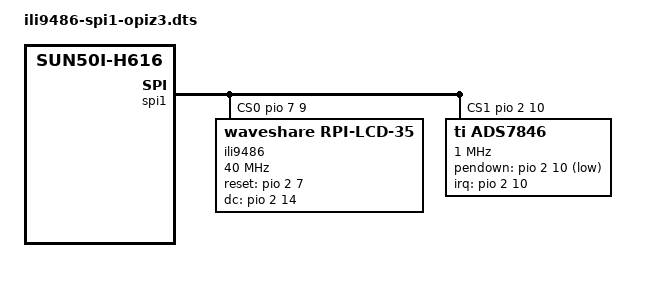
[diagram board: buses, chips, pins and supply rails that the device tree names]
/dts-v1/;
/plugin/;
/ {
    compatible = "allwinner,sun50i-h616";
    fragment@0 {
        target = <&spi1>;
        __overlay__ {
            status = "okay";
		    dma-names = "";
	    cs-gpios = <&pio 7 9 0>,<&pio 2 10 0>; /*PH9=CS0 for lcd, PC10=CS1 for touch*/
            ili9486: ili9486@0 {
                compatible = "waveshare,rpi-lcd-35";
                reg = <0>;
                pinctrl-names = "default";
                spi-max-frequency = <40000000>;
                rotate = <90>;
                bgr = <0>;
                fps = <45>;
                buswidth = <8>;
                reset-gpios = <&pio 2 7 0>; /* PC7 */
                dc-gpios = <&pio 2 14 0>; /* PC14 */
                debug = <3>;
				init = <0x10000b0 0x00 0x1000011 0x20000ff 0x100003a 0x55 0x1000036 0x48 0x10000c2 0x44 0x10000c5 0x00 0x00 0x00 0x00 0x10000e0 0x0f 0x1f 0x1c 0x0c 0x0f 0x08 0x48 0x98 0x37 0x0a 0x13 0x04 0x11 0x0d 0x00 0x10000e1 0x0f 0x32 0x2e 0x0b 0x0d 0x05 0x47 0x75 0x37 0x06 0x10 0x03 0x24 0x20 0x00 0x10000e2 0x0f 0x32 0x2e 0x0b 0x0d 0x05 0x47 0x75 0x37 0x06 0x10 0x03 0x24 0x20 0x00 0x1000036 0x48 0x1000011 0x1000029>;
            };

            ads7846: ads7846@1 {
                compatible = "ti,ads7846";
                reg = <1>;
                pinctrl-names = "default";
                spi-max-frequency = <1000000>;
                interrupt-parent = <&pio>;
                interrupts = <2 10 2>; /* PC10 - IRQ */
                pendown-gpio = <&pio 2 10 1>; /* PC10 */
                
                /* OPTIONS */
                ti,x-min = /bits/ 16 <0>;
                ti,y-min = /bits/ 16 <0>;
		ti,x-max = /bits/ 16 <0xFFF>;
		ti,y-max = /bits/ 16 <0xFFF>;
                ti,pressure-min = /bits/ 16 <0>;
                ti,pressure-max = /bits/ 16 <0xFFF>;
                ti,x-plate-ohms = /bits/ 16 <400>;
                ti,swap-xy = <1>;
		ti,invert-x = <0>;
		ti,invert-y = <1>;
	    };
        };
    };
};




